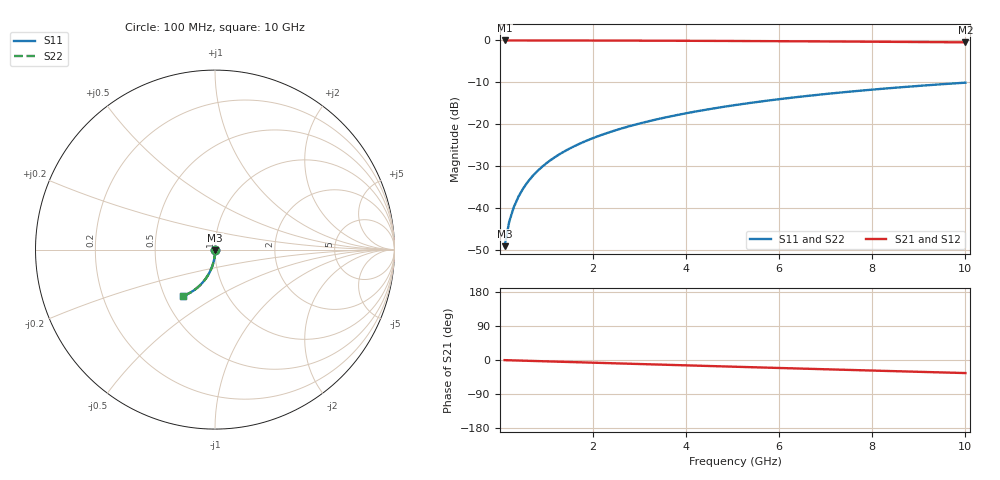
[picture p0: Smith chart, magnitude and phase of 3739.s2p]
# Hz S RI R 50.00
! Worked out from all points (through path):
!   100 points, 100 MHz to 10 GHz, reference 50 ohm
!   highest |S21| = -0.01 dB at 100 MHz (marker M1); lowest = -0.5 dB at 10 GHz (marker M2)
!   group delay of S21, straight-line fit = 9.6 ps
!   lowest |S11| = -49.2 dB at 100 MHz (marker M3), VSWR 1.01, Z = 50.1 - j0.342 ohm
!   |S11| at or under -10 dB: start of sweep to end of sweep
!   |S22| runs from -49.2 to -10.1 dB; largest |S21 - S12| = 0
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1e8  0.00065 -0.00342  0.9993 -0.00618  0.9993 -0.00618  0.00065 -0.00342
2e8  0.000587 -0.00684  0.9992 -0.0124  0.9992 -0.0124  0.000587 -0.00684
3e8  0.00048 -0.0103  0.9991 -0.0185  0.9991 -0.0185  0.00048 -0.0103
4e8  0.00033 -0.0137  0.9989 -0.0247  0.9989 -0.0247  0.00033 -0.0137
5e8  0.000138 -0.0171  0.9987 -0.0309  0.9987 -0.0309  0.000138 -0.0171
6e8  -9.65e-05 -0.0205  0.9984 -0.037  0.9984 -0.037  -9.65e-05 -0.0205
7e8  -0.000374 -0.0239  0.9981 -0.0432  0.9981 -0.0432  -0.000374 -0.0239
8e8  -0.000693 -0.0273  0.9977 -0.0494  0.9977 -0.0494  -0.000693 -0.0273
9e8  -0.00105 -0.0307  0.9972 -0.0555  0.9972 -0.0555  -0.00105 -0.0307
1.1e9  -0.0019 -0.0375  0.9962 -0.0678  0.9962 -0.0678  -0.0019 -0.0375
1.4e9  -0.00349 -0.0476  0.9944 -0.0863  0.9944 -0.0863  -0.00349 -0.0476
1.8e9  -0.00618 -0.061  0.9912 -0.1107  0.9912 -0.1107  -0.00618 -0.061
2.1e9  -0.00863 -0.071  0.9883 -0.1289  0.9883 -0.1289  -0.00863 -0.071
2.5e9  -0.0125 -0.084  0.9837 -0.1531  0.9837 -0.1531  -0.0125 -0.084
2.9e9  -0.0169 -0.0969  0.9784 -0.177  0.9784 -0.177  -0.0169 -0.0969
3.4e9  -0.0234 -0.1126  0.9707 -0.2066  0.9707 -0.2066  -0.0234 -0.1126
4.2e9  -0.0356 -0.1368  0.9561 -0.2529  0.9561 -0.2529  -0.0356 -0.1368
5.1e9  -0.052 -0.1622  0.9365 -0.3033  0.9365 -0.3033  -0.052 -0.1622
5.9e9  -0.0687 -0.183  0.9163 -0.3465  0.9163 -0.3465  -0.0687 -0.183
6.7e9  -0.0871 -0.202  0.8939 -0.3878  0.8939 -0.3878  -0.0871 -0.202
8.4e9  -0.1311 -0.2356  0.8396 -0.469  0.8396 -0.469  -0.1311 -0.2356
1e10  -0.1767 -0.2582  0.782 -0.5367  0.782 -0.5367  -0.1767 -0.2582
